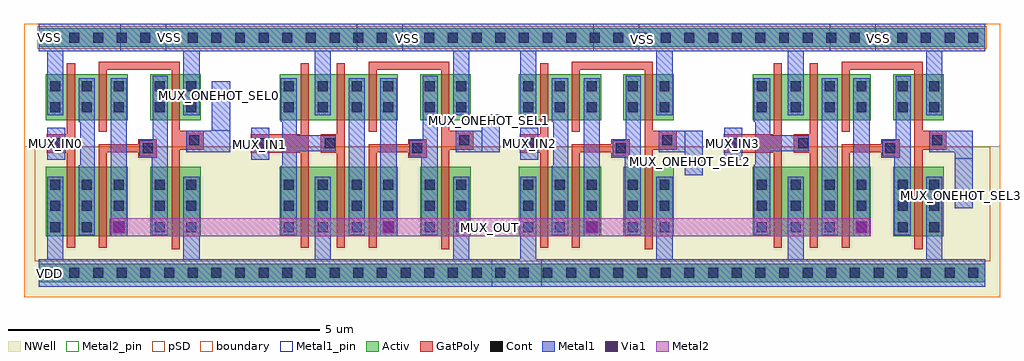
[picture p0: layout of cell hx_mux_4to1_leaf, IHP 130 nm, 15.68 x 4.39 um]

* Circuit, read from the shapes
.subckt hx_mux_4to1_leaf MUX_IN0 MUX_IN1 MUX_IN2 MUX_IN3 MUX_ONEHOT_SEL0 MUX_ONEHOT_SEL1 MUX_ONEHOT_SEL2 MUX_ONEHOT_SEL3 MUX_OUT VDD VSS
XM1 n1 MUX_IN0 VSS VSS sg13_lv_nmos w=0.74u l=0.13u
XM2 MUX_OUT MUX_ONEHOT_SEL0 n1 VSS sg13_lv_nmos w=0.74u l=0.13u
XM3 VSS MUX_ONEHOT_SEL0 n2 VSS sg13_lv_nmos w=0.74u l=0.13u
XM4 VSS MUX_IN1 n3 VSS sg13_lv_nmos w=0.74u l=0.13u
XM5 n4 n3 VSS VSS sg13_lv_nmos w=0.74u l=0.13u
XM6 MUX_OUT MUX_ONEHOT_SEL1 n4 VSS sg13_lv_nmos w=0.74u l=0.13u
XM7 VSS MUX_ONEHOT_SEL1 n5 VSS sg13_lv_nmos w=0.74u l=0.13u
XM8 n6 MUX_IN2 VSS VSS sg13_lv_nmos w=0.74u l=0.13u
XM9 MUX_OUT MUX_ONEHOT_SEL2 n6 VSS sg13_lv_nmos w=0.74u l=0.13u
XM10 VSS MUX_ONEHOT_SEL2 n7 VSS sg13_lv_nmos w=0.74u l=0.13u
XM11 VSS MUX_IN3 n8 VSS sg13_lv_nmos w=0.74u l=0.13u
XM12 n9 n8 VSS VSS sg13_lv_nmos w=0.74u l=0.13u
XM13 MUX_OUT MUX_ONEHOT_SEL3 n9 VSS sg13_lv_nmos w=0.74u l=0.13u
XM14 VSS MUX_ONEHOT_SEL3 n10 VSS sg13_lv_nmos w=0.74u l=0.13u
XM15 n1 MUX_IN0 VDD VDD sg13_lv_pmos w=1.12u l=0.13u
XM16 MUX_OUT n2 n1 VDD sg13_lv_pmos w=1.12u l=0.13u
XM17 VDD MUX_ONEHOT_SEL0 n2 VDD sg13_lv_pmos w=1.12u l=0.13u
XM18 VDD MUX_IN1 n3 VDD sg13_lv_pmos w=1.12u l=0.13u
XM19 n4 n3 VDD VDD sg13_lv_pmos w=1.12u l=0.13u
XM20 MUX_OUT n5 n4 VDD sg13_lv_pmos w=1.12u l=0.13u
XM21 VDD MUX_ONEHOT_SEL1 n5 VDD sg13_lv_pmos w=1.12u l=0.13u
XM22 n6 MUX_IN2 VDD VDD sg13_lv_pmos w=1.12u l=0.13u
XM23 MUX_OUT n7 n6 VDD sg13_lv_pmos w=1.12u l=0.13u
XM24 VDD MUX_ONEHOT_SEL2 n7 VDD sg13_lv_pmos w=1.12u l=0.13u
XM25 VDD MUX_IN3 n8 VDD sg13_lv_pmos w=1.12u l=0.13u
XM26 n9 n8 VDD VDD sg13_lv_pmos w=1.12u l=0.13u
XM27 MUX_OUT n10 n9 VDD sg13_lv_pmos w=1.12u l=0.13u
XM28 VDD MUX_ONEHOT_SEL3 n10 VDD sg13_lv_pmos w=1.12u l=0.13u
.ends

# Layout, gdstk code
import gdstk
lib = gdstk.Library(unit=1e-6, precision=1e-09)
def R(c, l, rs):  # rectangles x0, y0, x1, y1
    for r in rs: c.add(gdstk.rectangle(r[:2], r[2:], *l))
def A(c, l, x, y, w, h, nx, ny, dx, dy):  # array of equal rectangles
    R(c, l, [(x+i*dx, y+j*dy, x+i*dx+w, y+j*dy+h) for i in range(nx) for j in range(ny)])
def P(c, l, *ps):  # polygons
    for p in ps: c.add(gdstk.Polygon(p, *l))
Activ = (1, 0)
GatPoly = (5, 0)
Cont = (6, 0)
Metal1 = (8, 0)
Metal1_pin = (8, 2)
Metal2 = (10, 0)
Metal2_pin = (10, 2)
pSD = (14, 0)
Via1 = (19, 0)
NWell = (31, 0)
boundary = (189, 4)

hx_mux_4to1_leaf = lib.new_cell('hx_mux_4to1_leaf')
R(hx_mux_4to1_leaf, Activ, [(0.24,0.24,15.44,0.54), (0.35,0.975,1.67,2.095), (2.03,0.975,2.84,2.095), (4.105,0.975,6.005,2.095), (6.365,0.975,7.175,2.095), (7.95,0.975,9.27,2.095), (9.63,0.975,10.44,2.095), (11.705,0.975,13.605,2.095), (13.965,0.975,14.775,2.095), (0.35,2.84,1.67,3.58), (2.03,2.84,2.84,3.58), (4.105,2.84,6.005,3.58), (6.365,2.84,7.175,3.58), (7.95,2.84,9.27,3.58), (9.63,2.84,10.44,3.58), (11.705,2.84,13.605,3.58), (13.965,2.84,14.775,3.58), (0.24,4.02,15.44,4.32)])
P(hx_mux_4to1_leaf, GatPoly, [(14.305,0.77),(14.305,3.655),(13.265,3.655),(13.265,2.66),(13.135,2.66),(13.135,3.785),(14.435,3.785),(14.435,2.67),(14.82,2.67),(14.82,2.37),(14.435,2.37),(14.435,0.77)],
  [(13.135,0.795),(13.135,2.46),(13.77,2.46),(13.77,2.54),(14.07,2.54),(14.07,2.24),(13.77,2.24),(13.77,2.325),(13.265,2.325),(13.265,0.795)],
  [(12.045,0.795),(12.045,2.32),(11.245,2.32),(11.245,2.62),(12.045,2.62),(12.045,3.76),(12.175,3.76),(12.175,0.795)],
  [(12.625,0.795),(12.625,2.32),(12.365,2.32),(12.365,2.62),(12.625,2.62),(12.625,3.76),(12.755,3.76),(12.755,0.795)],
  [(9.97,0.77),(9.97,3.655),(8.93,3.655),(8.93,2.66),(8.8,2.66),(8.8,3.785),(10.1,3.785),(10.1,2.67),(10.485,2.67),(10.485,2.37),(10.1,2.37),(10.1,0.77)],
  [(8.8,0.795),(8.8,2.46),(9.435,2.46),(9.435,2.54),(9.735,2.54),(9.735,2.24),(9.435,2.24),(9.435,2.325),(8.93,2.325),(8.93,0.795)],
  [(8.29,0.795),(8.29,2.32),(7.965,2.32),(7.965,2.62),(8.29,2.62),(8.29,3.76),(8.42,3.76),(8.42,0.795)],
  [(6.705,0.77),(6.705,3.655),(5.665,3.655),(5.665,2.66),(5.535,2.66),(5.535,3.785),(6.835,3.785),(6.835,2.67),(7.22,2.67),(7.22,2.37),(6.835,2.37),(6.835,0.77)],
  [(5.535,0.795),(5.535,2.46),(6.17,2.46),(6.17,2.54),(6.47,2.54),(6.47,2.24),(6.17,2.24),(6.17,2.325),(5.665,2.325),(5.665,0.795)],
  [(4.445,0.795),(4.445,2.32),(3.645,2.32),(3.645,2.62),(4.445,2.62),(4.445,3.76),(4.575,3.76),(4.575,0.795)],
  [(5.025,0.795),(5.025,2.32),(4.765,2.32),(4.765,2.62),(5.025,2.62),(5.025,3.76),(5.155,3.76),(5.155,0.795)],
  [(2.37,0.77),(2.37,3.655),(1.33,3.655),(1.33,2.66),(1.2,2.66),(1.2,3.785),(2.5,3.785),(2.5,2.67),(2.885,2.67),(2.885,2.37),(2.5,2.37),(2.5,0.77)],
  [(1.2,0.795),(1.2,2.46),(1.835,2.46),(1.835,2.54),(2.135,2.54),(2.135,2.24),(1.835,2.24),(1.835,2.325),(1.33,2.325),(1.33,0.795)],
  [(0.69,0.795),(0.69,2.32),(0.365,2.32),(0.365,2.62),(0.69,2.62),(0.69,3.76),(0.82,3.76),(0.82,0.795)])
A(hx_mux_4to1_leaf, Cont, 0.35, 0.31, 0.16, 0.16, 40, 2, 0.38, 3.78)
A(hx_mux_4to1_leaf, Cont, 0.42, 1.045, 0.16, 0.16, 3, 3, 0.51, 0.34)
A(hx_mux_4to1_leaf, Cont, 2.1, 1.045, 0.16, 0.16, 1, 3, 0, 0.34)
A(hx_mux_4to1_leaf, Cont, 2.61, 1.045, 0.16, 0.16, 1, 3, 0, 0.34)
A(hx_mux_4to1_leaf, Cont, 4.175, 1.045, 0.16, 0.16, 3, 3, 0.545, 0.34)
A(hx_mux_4to1_leaf, Cont, 5.775, 1.045, 0.16, 0.16, 1, 3, 0, 0.34)
A(hx_mux_4to1_leaf, Cont, 6.435, 1.045, 0.16, 0.16, 1, 3, 0, 0.34)
A(hx_mux_4to1_leaf, Cont, 6.945, 1.045, 0.16, 0.16, 1, 3, 0, 0.34)
A(hx_mux_4to1_leaf, Cont, 8.02, 1.045, 0.16, 0.16, 3, 3, 0.51, 0.34)
A(hx_mux_4to1_leaf, Cont, 9.7, 1.045, 0.16, 0.16, 1, 3, 0, 0.34)
A(hx_mux_4to1_leaf, Cont, 10.21, 1.045, 0.16, 0.16, 1, 3, 0, 0.34)
A(hx_mux_4to1_leaf, Cont, 11.775, 1.045, 0.16, 0.16, 3, 3, 0.545, 0.34)
A(hx_mux_4to1_leaf, Cont, 13.375, 1.045, 0.16, 0.16, 1, 3, 0, 0.34)
A(hx_mux_4to1_leaf, Cont, 14.035, 1.045, 0.16, 0.16, 1, 3, 0, 0.34)
A(hx_mux_4to1_leaf, Cont, 14.545, 1.045, 0.16, 0.16, 1, 3, 0, 0.34)
A(hx_mux_4to1_leaf, Cont, 0.42, 2.97, 0.16, 0.16, 3, 2, 0.51, 0.34)
A(hx_mux_4to1_leaf, Cont, 4.175, 2.97, 0.16, 0.16, 3, 2, 0.545, 0.34)
A(hx_mux_4to1_leaf, Cont, 8.02, 2.97, 0.16, 0.16, 3, 2, 0.51, 0.34)
A(hx_mux_4to1_leaf, Cont, 11.775, 2.97, 0.16, 0.16, 3, 2, 0.545, 0.34)
R(hx_mux_4to1_leaf, Cont, [(1.905,2.31,2.065,2.47), (6.24,2.31,6.4,2.47), (9.505,2.31,9.665,2.47), (13.84,2.31,14,2.47), (0.435,2.39,0.595,2.55), (3.715,2.39,3.875,2.55), (4.835,2.39,4.995,2.55), (8.035,2.39,8.195,2.55), (11.315,2.39,11.475,2.55), (12.435,2.39,12.595,2.55), (2.655,2.44,2.815,2.6), (6.99,2.44,7.15,2.6), (10.255,2.44,10.415,2.6), (14.59,2.44,14.75,2.6), (2.1,2.97,2.26,3.13), (2.61,2.97,2.77,3.13), (5.775,2.97,5.935,3.13), (6.435,2.97,6.595,3.13), (6.945,2.97,7.105,3.13), (9.7,2.97,9.86,3.13), (10.21,2.97,10.37,3.13), (13.375,2.97,13.535,3.13), (14.035,2.97,14.195,3.13), (14.545,2.97,14.705,3.13), (2.1,3.31,2.26,3.47), (2.61,3.31,2.77,3.47), (5.775,3.31,5.935,3.47), (6.435,3.31,6.595,3.47), (6.945,3.31,7.105,3.47), (9.7,3.31,9.86,3.47), (10.21,3.31,10.37,3.47), (13.375,3.31,13.535,3.47), (14.035,3.31,14.195,3.47), (14.545,3.31,14.705,3.47)])
R(hx_mux_4to1_leaf, Metal1, [(0.24,0.17,15.44,0.61), (0.37,0.61,0.63,1.935), (2.56,0.61,2.82,1.935), (4.67,0.61,4.93,1.935), (6.895,0.61,7.155,1.935), (7.97,0.61,8.23,1.935), (10.16,0.61,10.42,1.935), (12.27,0.61,12.53,1.935), (14.495,0.61,14.755,1.935), (1.39,0.98,1.65,3.515), (5.725,0.98,5.985,3.515), (8.99,0.98,9.25,3.515), (13.325,0.98,13.585,3.515), (5.215,0.995,5.475,3.52), (12.815,0.995,13.075,3.52), (0.37,2.205,0.66,2.72), (3.65,2.205,3.94,2.72), (7.97,2.205,8.26,2.72), (11.25,2.205,11.54,2.72), (0.37,2.92,0.63,3.95), (2.56,2.92,2.82,3.95), (4.67,2.92,4.93,3.95), (6.895,2.92,7.155,3.95), (7.97,2.92,8.23,3.95), (10.16,2.92,10.42,3.95), (12.27,2.92,12.53,3.95), (14.495,2.92,14.755,3.95), (0.24,3.95,15.44,4.39)])
P(hx_mux_4to1_leaf, Metal1, [(4.125,0.995),(4.125,2.11),(4.15,2.11),(4.15,2.82),(4.125,2.82),(4.125,3.52),(4.385,3.52),(4.385,2.6),(5.005,2.6),(5.005,2.34),(4.385,2.34),(4.385,0.995)],
  [(8.48,0.995),(8.48,2.11),(8.505,2.11),(8.505,2.815),(8.48,2.815),(8.48,3.52),(8.74,3.52),(8.74,0.995)],
  [(11.725,0.995),(11.725,2.125),(11.745,2.125),(11.745,2.82),(11.725,2.82),(11.725,3.52),(11.985,3.52),(11.985,2.6),(12.605,2.6),(12.605,2.34),(11.985,2.34),(11.985,0.995)],
  [(0.88,0.995),(0.88,2.115),(0.905,2.115),(0.905,2.81),(0.88,2.81),(0.88,3.52),(1.14,3.52),(1.14,0.995)],
  [(10.615,1.96),(10.615,2.33),(10.2,2.33),(10.2,2.67),(10.905,2.67),(10.905,1.96)],
  [(13.985,0.995),(13.985,2.26),(13.79,2.26),(13.79,2.52),(14.005,2.52),(14.005,3.555),(14.245,3.555),(14.245,0.995)],
  [(9.65,0.995),(9.65,2.26),(9.455,2.26),(9.455,2.52),(9.67,2.52),(9.67,3.555),(9.91,3.555),(9.91,0.995)],
  [(14.955,1.43),(14.955,2.33),(14.54,2.33),(14.54,2.67),(15.245,2.67),(15.245,1.43)],
  [(2.605,2.33),(2.605,2.67),(3.02,2.67),(3.02,3.47),(3.31,3.47),(3.31,2.33)],
  [(6.385,0.995),(6.385,2.26),(6.19,2.26),(6.19,2.52),(6.405,2.52),(6.405,3.555),(6.645,3.555),(6.645,0.995)],
  [(6.94,2.33),(6.94,2.67),(7.355,2.67),(7.355,2.94),(7.645,2.94),(7.645,2.33)],
  [(2.05,0.995),(2.05,2.26),(1.855,2.26),(1.855,2.52),(2.07,2.52),(2.07,3.555),(2.31,3.555),(2.31,0.995)])
A(hx_mux_4to1_leaf, Metal1_pin, 2.275, 3.95, 3.08, 0.44, 3, 1, 3.8, 0)
R(hx_mux_4to1_leaf, Metal1_pin, [(0.24,0.17,7.52,0.61), (8.31,0.17,15.44,0.61), (14.955,1.43,15.245,2.23), (10.615,1.96,10.905,2.67), (0.37,2.205,0.66,2.72), (3.65,2.205,3.94,2.72), (7.97,2.205,8.26,2.72), (11.25,2.205,11.54,2.72), (7.355,2.33,7.645,2.94), (3.02,2.67,3.31,3.47), (0.24,3.95,1.555,4.39), (13.675,3.95,15.44,4.39)])
R(hx_mux_4to1_leaf, Metal2, [(1.375,0.98,13.6,1.27)])
R(hx_mux_4to1_leaf, Metal2_pin, [(1.375,0.98,13.6,1.27)])
R(hx_mux_4to1_leaf, pSD, [(0.17,0.575,15.525,2.415), (0.21,3.99,15.47,4.35)])
R(hx_mux_4to1_leaf, Via1, [(1.425,1.03,1.615,1.22), (5.76,1.03,5.95,1.22), (9.025,1.03,9.215,1.22), (13.36,1.03,13.55,1.22)])
R(hx_mux_4to1_leaf, NWell, [(0,0,15.68,2.42)])
R(hx_mux_4to1_leaf, boundary, [(0,0,15.68,4.39)])
hx_mux_4to1_leaf.add(gdstk.Label('VSS', (2.345,4.165), layer=8, texttype=25))
hx_mux_4to1_leaf.add(gdstk.Label('VSS', (6.16,4.155), layer=8, texttype=25))
hx_mux_4to1_leaf.add(gdstk.Label('VSS', (9.935,4.145), layer=8, texttype=25))
hx_mux_4to1_leaf.add(gdstk.Label('VSS', (13.73,4.155), layer=8, texttype=25))
hx_mux_4to1_leaf.add(gdstk.Label('MUX_ONEHOT_SEL2', (10.715,2.18), layer=8, texttype=25))
hx_mux_4to1_leaf.add(gdstk.Label('MUX_ONEHOT_SEL3', (15.055,1.64), layer=8, texttype=25))
hx_mux_4to1_leaf.add(gdstk.Label('MUX_ONEHOT_SEL0', (3.145,3.24), layer=8, texttype=25))
hx_mux_4to1_leaf.add(gdstk.Label('MUX_ONEHOT_SEL1', (7.48,2.845), layer=8, texttype=25))
hx_mux_4to1_leaf.add(gdstk.Label('MUX_IN1', (3.79,2.46), layer=8, texttype=25))
hx_mux_4to1_leaf.add(gdstk.Label('MUX_IN2', (8.12,2.47), layer=8, texttype=25))
hx_mux_4to1_leaf.add(gdstk.Label('MUX_IN3', (11.385,2.465), layer=8, texttype=25))
hx_mux_4to1_leaf.add(gdstk.Label('MUX_IN0', (0.505,2.475), layer=8, texttype=25))
hx_mux_4to1_leaf.add(gdstk.Label('VDD', (0.415,0.375), layer=8, texttype=25))
hx_mux_4to1_leaf.add(gdstk.Label('VSS', (0.415,4.165), layer=8, texttype=25))
hx_mux_4to1_leaf.add(gdstk.Label('MUX_OUT', (7.475,1.12), layer=10, texttype=25))

lib.write_gds('hx_mux_4to1_leaf.gds')
